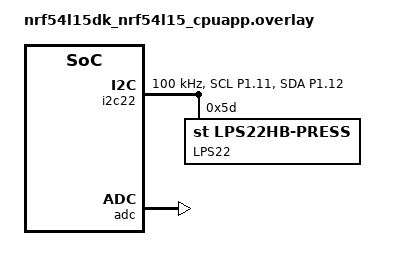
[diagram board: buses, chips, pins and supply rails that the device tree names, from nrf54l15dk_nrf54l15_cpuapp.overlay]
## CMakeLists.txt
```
#
# SPDX-License-Identifier: Apache-2.0

# filepath: CMakeLists.txt
#cmake_minimum_required(VERSION 3.21)
#cmake_policy(SET CMP0057 NEW)
#find_package(Zephyr REQUIRED HINTS $ENV{ZEPHYR_BASE})
#project(LPS22FRESH424)

#target_sources(app PRIVATE src/main.c)
#zephyr_include_directories(.) # (inc)

# NORDIC SDK APP START
#target_sources(app PRIVATE
#    src/main.c
#    src/lps22.c
#    src/services/ble_shs.c
#)

# NORDIC SDK APP END
#
# SPDX-License-Identifier: Apache-2.0

cmake_minimum_required(VERSION 3.20.0)

find_package(Zephyr REQUIRED HINTS $ENV{ZEPHYR_BASE})
project(LPS22FRESH424)


zephyr_include_directories(.) # (inc)

# NORDIC SDK APP START
target_sources(app PRIVATE
	src/main.c
	src/lps22.c
	src/services/ble_shs.c
)

# NORDIC SDK APP END
```

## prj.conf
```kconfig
# Button and LED library
CONFIG_DK_LIBRARY=y

# Bluetooth LE
CONFIG_BT=y
CONFIG_BT_PERIPHERAL=y
CONFIG_BT_DEVICE_NAME="TPMS nRF Dev"
CONFIG_BT_MAX_CONN=1

# Increase stack size for the main thread and System Workqueue
CONFIG_SYSTEM_WORKQUEUE_STACK_SIZE=2048
CONFIG_MAIN_STACK_SIZE=2048

# I2C
CONFIG_I2C=y
CONFIG_CBPRINTF_FP_SUPPORT=y

# Power savings if you disable these.
CONFIG_LOG=y #changed
CONFIG_SERIAL=y #added
#CONFIG_LOG_DEFAULT_LEVEL=0

# tx power config examples. not all socs support all +/-, check your soc
# CONFIG_BT_CTRL_TX_PWR_PLUS_8=y
# CONFIG_BT_CTLR_TX_PWR_0=y
#CONFIG_BT_CTLR_TX_PWR_MINUS_40=y

CONFIG_PM=y
CONFIG_PM_DEVICE=y

# LPS22 sensor configuration
CONFIG_SENSOR=y
#CONFIG_LPS22=y
```

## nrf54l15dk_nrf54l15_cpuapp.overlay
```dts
&pinctrl {
    i2c22_default: i2c22_default {
        group1 {
            psels = <NRF_PSEL(TWIM_SCL, 1, 11)>,
                    <NRF_PSEL(TWIM_SDA, 1, 12)>;
        };
    };

    i2c22_sleep: i2c22_sleep {
        group1 { 
            psels = <NRF_PSEL(TWIM_SCL, 1, 11)>,
                    <NRF_PSEL(TWIM_SDA, 1, 12)>;
            low-power-enable;
        };
    };
};

&i2c22 {
    status = "okay";
    zephyr,concat-buf-size = <512>;
    pinctrl-0 = <&i2c22_default>;
    pinctrl-1 = <&i2c22_sleep>;
    pinctrl-names = "default", "sleep";

    lps22: lps22@5d {
        compatible = "st,lps22hb-press";
        status = "okay";
        reg = <0x5d>;
        label = "LPS22"; //added
    };

    clock-frequency = <I2C_BITRATE_STANDARD>;
};

&adc {
    status = "okay";
};
```

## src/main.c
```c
/*
 * Copyright (c) 2016 Intel Corporation
 *
 * SPDX-License-Identifier: Apache-2.0
 */

#include <zephyr/kernel.h>
#include <zephyr/device.h>
#include <zephyr/devicetree.h>

#include <zephyr/logging/log.h>

#include <zephyr/bluetooth/bluetooth.h>
#include <zephyr/bluetooth/hci.h>
#include <zephyr/bluetooth/gap.h>
#include <zephyr/bluetooth/uuid.h>
#include <zephyr/bluetooth/conn.h>
#include <zephyr/bluetooth/gatt.h>

#include <zephyr/settings/settings.h>

#include "inc/lps22.h"
#include "services/ble_shs.h"

#define STACKSIZE 1024
#define PRIORITY 7

#define SENSOR_SLEEP_TIME_MS   15000

LOG_MODULE_REGISTER(main);

static const struct bt_le_adv_param *adv_param = BT_LE_ADV_PARAM(
    (BT_LE_ADV_OPT_CONNECTABLE |
     BT_LE_ADV_OPT_USE_IDENTITY), /* Connectable advertising and use identity address */
    16383, /* Min Advertising Interval 500ms (800*0.625ms) 16383*/
    16384, /* Max Advertising Interval 500.625ms (801*0.625ms) 16384 */
    NULL); /* Set to NULL for undirected advertising */

#define DEVICE_NAME CONFIG_BT_DEVICE_NAME
#define DEVICE_NAME_LEN (sizeof(DEVICE_NAME) - 1)

#define NOTIFY_INTERVAL 500

static const struct bt_data ad[] =
{
    BT_DATA_BYTES(BT_DATA_FLAGS, (BT_LE_AD_GENERAL | BT_LE_AD_NO_BREDR)),
    BT_DATA(BT_DATA_NAME_COMPLETE, DEVICE_NAME, DEVICE_NAME_LEN),
};

static const struct bt_data sd[] =
{
    BT_DATA_BYTES(BT_DATA_UUID128_ALL, SENSOR_HUB_SERVICE_UUID),
};

// BT globals and callbacks
struct bt_conn *m_connection_handle = NULL;
static void connected(struct bt_conn *conn, uint8_t err)
{
    if (err) {
        LOG_WRN("Connection failed (err %u)\n", err);
        return;
    }

    m_connection_handle = conn;
    LOG_INF("Connected\n");    
}

static void disconnected(struct bt_conn *conn, uint8_t reason)
{
    LOG_INF("Disconnected (reason %u)\n", reason);
    m_connection_handle = NULL;
}

BT_CONN_CB_DEFINE(conn_callbacks) =
{
    .connected        = connected,
    .disconnected     = disconnected,
};

int32_t bt_pressure;
int32_t bt_temperature;

void bt_send_data_thread(void)
{
    while (1) {
        if(m_connection_handle) // if bluetooth connection present
        {
            sensor_hub_update_temperature(m_connection_handle, (uint8_t*)(&bt_temperature), sizeof(bt_temperature));
            sensor_hub_update_pressure(m_connection_handle, (uint8_t*)(&bt_pressure), sizeof(bt_pressure));
        }
        k_sleep(K_MSEC(NOTIFY_INTERVAL));
    }
}

// main is also our sensor sample thread.
int main(void)
{
    int err;

    lps22_init();
    k_msleep(100); // give it some time after resetting.
    
    // Setting up Bluetooth
    err = bt_enable(NULL);
    if(err) 
    {
        LOG_ERR("Bluetooth init failed (err %d)\n", err);
        return -1;
    }
    LOG_INF("Bluetooth initialized");

    if(IS_ENABLED(CONFIG_SETTINGS)) 
    {
        settings_load();
    }

    err = bt_le_adv_start(adv_param, ad, ARRAY_SIZE(ad),
                  sd, ARRAY_SIZE(sd));
    if(err) 
    {
        LOG_ERR("Advertising failed to start (err %d)\n", err);
        return -2;
    }
    LOG_INF("Advertising successfully started\n");

    float pressure, temperature_C = 0;
    while(1)
    {    
        pressure = lps22_read_pressure();
        temperature_C = lps22_read_temperature();
        
        //pressure = 1013.25; // Dummy value for testing
        //temperature_C = 25.0; // Dummy value for testing

        bt_pressure = (int32_t)(pressure);
        bt_temperature = (int32_t)(temperature_C);

        LOG_INF("Pressure: %.2f, Temperature (C) : %.2f", (double)pressure, (double)temperature_C);
        k_msleep(SENSOR_SLEEP_TIME_MS);
    }
    
    return 0;
}

K_THREAD_DEFINE(bt_send_data_thread_id, STACKSIZE, bt_send_data_thread, NULL, NULL, NULL, PRIORITY, 0, 0);
```

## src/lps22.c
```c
/*
#include <zephyr/kernel.h>
#include <zephyr/device.h>
#include <zephyr/sys/util.h>
#include <zephyr/devicetree.h>

#include <zephyr/logging/log.h>
#include <zephyr/drivers/i2c.h>

// power management
#include <zephyr/pm/pm.h>
#include <zephyr/pm/device.h>

#include "inc/lps22.h"

LOG_MODULE_REGISTER(lps22);

#define I2C_NODE DT_NODELABEL(lps22)

static const struct i2c_dt_spec dev_i2c = I2C_DT_SPEC_GET(I2C_NODE);
const struct device *i2c_device = DEVICE_DT_GET(DT_NODELABEL(i2c22));

bool lps22_init(void)
{
    int err;
    if (!device_is_ready(dev_i2c.bus))
    {
        printk("I2C bus %s is not ready!", dev_i2c.bus->name);
        return false;
    }

    uint8_t cmd[] = {LPS22_RESET_CMD};
    err = i2c_write_dt(&dev_i2c, cmd, sizeof(cmd));
    if (err != 0)
    {
        LOG_WRN("Failed to write to i2c dev addr");
        return false;
    }

    // power management
    err = pm_device_action_run(i2c_device, PM_DEVICE_ACTION_SUSPEND);

    return true;
}

float lps22_read_pressure(void)
{
    int err;
    float pressure;

    err = pm_device_action_run(i2c_device, PM_DEVICE_ACTION_RESUME);

    if (!device_is_ready(dev_i2c.bus))
    {
        LOG_WRN("I2C bus %s is not ready!", dev_i2c.bus->name);
        return 0;
    }

    // start conversion
    uint8_t cmd[] = {LPS22_PRESS_OUT_XL};
    uint8_t buf[3] = {0};
    err = i2c_write_dt(&dev_i2c, cmd, sizeof(cmd));
    if (err != 0)
    {
        LOG_WRN("Failed to write/read to i2c dev");
        return LPS22_ERRCODE;
    }
    k_msleep(20); // conversion time

    err = i2c_read_dt(&dev_i2c, buf, sizeof(buf));
    if (err != 0)
    {
        LOG_WRN("Failed to write/read to i2c dev");
        return LPS22_ERRCODE;
    }

    err = pm_device_action_run(i2c_device, PM_DEVICE_ACTION_SUSPEND);

    pressure = ((buf[2] << 16) | (buf[1] << 8) | buf[0]) / 4096.0;
    return pressure;
}

float lps22_read_temperature(void)
{
    int err;
    float temperature_C;

    err = pm_device_action_run(i2c_device, PM_DEVICE_ACTION_RESUME);

    if (!device_is_ready(dev_i2c.bus))
    {
        printk("I2C bus %s is not ready!", dev_i2c.bus->name);
        return 0;
    }

    // start conversion
    uint8_t cmd[] = {LPS22_TEMP_OUT_L};
    uint8_t buf[2] = {0};
    err = i2c_write_dt(&dev_i2c, cmd, sizeof(cmd));
    if (err != 0)
    {
        LOG_WRN("Failed to write/read to i2c dev");
        return LPS22_ERRCODE;
    }

    k_msleep(20); // conversion time

    err = i2c_read_dt(&dev_i2c, buf, sizeof(buf));
    if (err != 0)
    {
        LOG_WRN("Failed to write/read to i2c dev");
        return LPS22_ERRCODE;
    }

    err = pm_device_action_run(i2c_device, PM_DEVICE_ACTION_SUSPEND);

    // unit conversion
    temperature_C = ((buf[1] << 8) | buf[0]) / 100.0;
    return temperature_C;
}
*/






/*  
#include <zephyr/kernel.h>
#include <zephyr/device.h>
#include <zephyr/drivers/sensor.h>
#include <stdio.h>
#include <zephyr/sys/util.h>

static void process_sample(const struct device *dev)
{
	static unsigned int obs;
	struct sensor_value pressure, temp;

	if (sensor_sample_fetch(dev) < 0) {
		LOG_INF("Sensor sample update error\n");
		return;
	}

	if (sensor_channel_get(dev, SENSOR_CHAN_PRESS, &pressure) < 0) {
		LOG_INF("Cannot read LPS22HB pressure channel\n");
		return;
	}

	if (sensor_channel_get(dev, SENSOR_CHAN_AMBIENT_TEMP, &temp) < 0) {
		LOG_INF("Cannot read LPS22HB temperature channel\n");
		return;
	}

	++obs;
	LOG_INF("Observation:%u\n", obs);
    
	// display pressure 
	LOG_INF("Pressure:%.1f kPa\n", sensor_value_to_double(&pressure)); 

	// display temperature 
	LOG_INF("Temperature:%.1f C\n", sensor_value_to_double(&temp));

	// ^ YOU CAN USE THE FUNCTION RETURN VALUES HERE AND PIPE THAT TO YOUR BLE SERVICE! ^

}
*/



#include <zephyr/kernel.h>
#include <zephyr/device.h>
#include <zephyr/drivers/sensor.h>
#include <zephyr/logging/log.h>

LOG_MODULE_REGISTER(lps22);

static const struct device *lps22_dev;

bool lps22_init(void)
{
    lps22_dev = DEVICE_DT_GET(DT_NODELABEL(lps22));
    if (!device_is_ready(lps22_dev))
    {
        LOG_ERR("LPS22 device is not ready");
        return false;
    }

    LOG_INF("LPS22 initialized successfully");
    return true;
}

float lps22_read_pressure(void)
{
    struct sensor_value pressure;
    if (sensor_sample_fetch(lps22_dev) < 0)
    {
        LOG_ERR("Failed to fetch sensor data");
        return -1.0;
    }

    if (sensor_channel_get(lps22_dev, SENSOR_CHAN_PRESS, &pressure) < 0)
    {
        LOG_ERR("Failed to get pressure data");
        return -1.0;
    }

    // Convert kPa to hPa
    return sensor_value_to_double(&pressure) * 10.0;
}

float lps22_read_temperature(void)
{
    struct sensor_value temperature;
    if (sensor_sample_fetch(lps22_dev) < 0)
    {
        LOG_ERR("Failed to fetch sensor data");
        return -1.0;
    }

    if (sensor_channel_get(lps22_dev, SENSOR_CHAN_AMBIENT_TEMP, &temperature) < 0)
    {
        LOG_ERR("Failed to get temperature data");
        return -1.0;
    }

    return sensor_value_to_double(&temperature);
}
```
